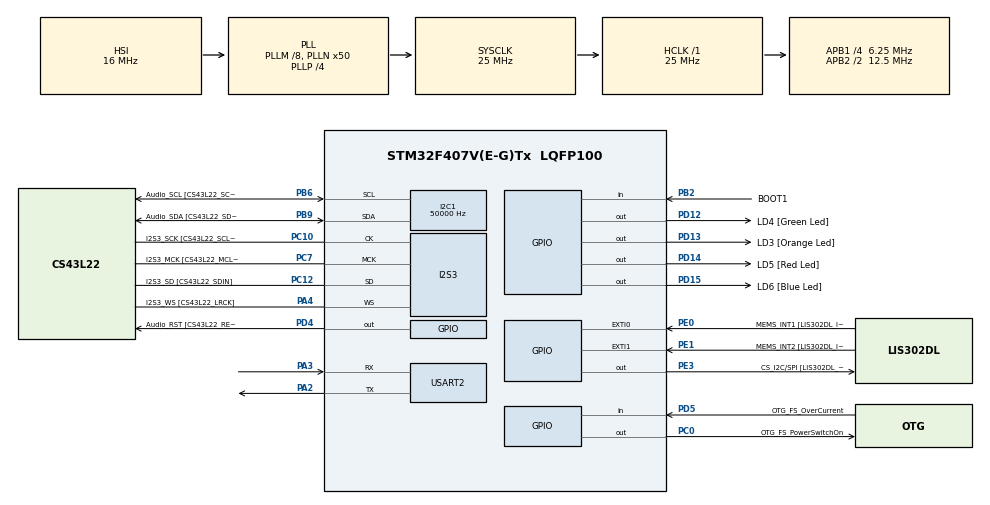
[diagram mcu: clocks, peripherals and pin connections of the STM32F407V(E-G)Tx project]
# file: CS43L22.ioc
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I2C1.ClockSpeed=50000
I2S3.AudioFreq=I2S_AUDIOFREQ_44K
I2S3.ErrorAudioFreq=-2.34 %
I2S3.RealAudioFreq=42.968 KHz
I2S3.Standard=I2S_STANDARD_PHILIPS
Mcu.Family=STM32F4
Mcu.Name=STM32F407V(E-G)Tx
Mcu.Package=LQFP100
NVIC.PriorityGroup=NVIC_PRIORITYGROUP_0
PA10.GPIO_Label=OTG_FS_ID
PA10.GPIO_Mode=GPIO_MODE_AF_PP
PA10.GPIO_PuPd=GPIO_NOPULL
PA10.GPIO_Speed=GPIO_SPEED_FREQ_LOW
PA10.Signal=USB_OTG_FS_ID
PA11.GPIO_Label=OTG_FS_DM
PA11.GPIO_Mode=GPIO_MODE_AF_PP
PA11.GPIO_PuPd=GPIO_NOPULL
PA11.GPIO_Speed=GPIO_SPEED_FREQ_LOW
PA11.Signal=USB_OTG_FS_DM
PA12.GPIO_Label=OTG_FS_DP
PA12.GPIO_Mode=GPIO_MODE_AF_PP
PA12.GPIO_PuPd=GPIO_NOPULL
PA12.GPIO_Speed=GPIO_SPEED_FREQ_LOW
PA12.Signal=USB_OTG_FS_DP
PA13.GPIO_Label=SWDIO
PA13.Signal=SYS_JTMS-SWDIO
PA14.GPIO_Label=SWCLK
PA14.Signal=SYS_JTCK-SWCLK
PA2.Mode=Asynchronous
PA2.Signal=USART2_TX
PA3.Mode=Asynchronous
PA3.Signal=USART2_RX
PA4.GPIO_Label=I2S3_WS [CS43L22_LRCK]
PA4.GPIO_Mode=GPIO_MODE_AF_PP
PA4.GPIO_PuPd=GPIO_NOPULL
PA4.GPIO_Speed=GPIO_SPEED_FREQ_LOW
PA4.Mode=Half_Duplex_Master
PA4.Signal=I2S3_WS
PA5.GPIO_Label=SPI1_SCK [LIS302DL_SCL/SPC]
PA5.GPIO_Mode=GPIO_MODE_AF_PP
PA5.GPIO_PuPd=GPIO_NOPULL
PA5.GPIO_Speed=GPIO_SPEED_FREQ_LOW
PA5.Signal=SPI1_SCK
PA6.GPIO_Label=SPI1_MISO [LIS302DL_SDO]
PA6.GPIO_Mode=GPIO_MODE_AF_PP
PA6.GPIO_PuPd=GPIO_NOPULL
PA6.GPIO_Speed=GPIO_SPEED_FREQ_LOW
PA6.Signal=SPI1_MISO
PA7.GPIO_Label=SPI1_MOSI [LIS302DL_SDA/SDI/SDO]
PA7.GPIO_Mode=GPIO_MODE_AF_PP
PA7.GPIO_PuPd=GPIO_NOPULL
PA7.GPIO_Speed=GPIO_SPEED_FREQ_LOW
PA7.Signal=SPI1_MOSI
PA9.GPIO_Label=VBUS_FS
PA9.GPIO_Mode=GPIO_MODE_INPUT
PA9.GPIO_PuPd=GPIO_NOPULL
PA9.Signal=USB_OTG_FS_VBUS
PB10.GPIO_Label=CLK_IN [MP45DT02_CLK]
PB10.GPIO_Mode=GPIO_MODE_AF_PP
PB10.GPIO_PuPd=GPIO_NOPULL
PB10.GPIO_Speed=GPIO_SPEED_FREQ_LOW
PB10.Signal=I2S2_CK
PB2.GPIO_Label=BOOT1
PB2.GPIO_Mode=GPIO_MODE_INPUT
PB2.GPIO_PuPd=GPIO_NOPULL
PB2.Signal=GPIO_Input
PB3.GPIO_Label=SWO
PB3.Signal=SYS_JTDO-SWO
PB6.GPIO_Label=Audio_SCL [CS43L22_SCL]
PB6.GPIO_Mode=GPIO_MODE_AF_OD
PB6.GPIO_PuPd=GPIO_NOPULL
PB6.GPIO_Speed=GPIO_SPEED_FREQ_LOW
PB6.Mode=I2C
PB6.Signal=I2C1_SCL
PB9.GPIO_Label=Audio_SDA [CS43L22_SDA]
PB9.GPIO_Mode=GPIO_MODE_AF_OD
PB9.GPIO_PuPd=GPIO_NOPULL
PB9.GPIO_Speed=GPIO_SPEED_FREQ_LOW
PB9.Mode=I2C
PB9.Signal=I2C1_SDA
PC0.GPIO_Label=OTG_FS_PowerSwitchOn
PC0.GPIO_PuPd=GPIO_NOPULL
PC0.GPIO_Speed=GPIO_SPEED_FREQ_LOW
PC0.PinState=GPIO_PIN_SET
PC0.Signal=GPIO_Output
PC10.GPIO_Label=I2S3_SCK [CS43L22_SCLK]
PC10.GPIO_Mode=GPIO_MODE_AF_PP
PC10.GPIO_PuPd=GPIO_NOPULL
PC10.GPIO_Speed=GPIO_SPEED_FREQ_LOW
PC10.Mode=Half_Duplex_Master
PC10.Signal=I2S3_CK
PC12.GPIO_Label=I2S3_SD [CS43L22_SDIN]
PC12.GPIO_Mode=GPIO_MODE_AF_PP
PC12.GPIO_PuPd=GPIO_NOPULL
PC12.GPIO_Speed=GPIO_SPEED_FREQ_LOW
PC12.Mode=Half_Duplex_Master
PC12.Signal=I2S3_SD
PC14-OSC32_IN.GPIO_Label=PC14-OSC32_IN
PC14-OSC32_IN.Signal=RCC_OSC32_IN
PC15-OSC32_OUT.GPIO_Label=PC15-OSC32_OUT
PC15-OSC32_OUT.Signal=RCC_OSC32_OUT
PC3.GPIO_Label=PDM_OUT [MP45DT02_DOUT]
PC3.GPIO_Mode=GPIO_MODE_AF_PP
PC3.GPIO_PuPd=GPIO_NOPULL
PC3.GPIO_Speed=GPIO_SPEED_FREQ_LOW
PC3.Signal=I2S2_SD
PC7.GPIO_Label=I2S3_MCK [CS43L22_MCLK]
PC7.GPIO_Mode=GPIO_MODE_AF_PP
PC7.GPIO_PuPd=GPIO_NOPULL
PC7.GPIO_Speed=GPIO_SPEED_FREQ_LOW
PC7.Mode=Master_Clock_Activated
PC7.Signal=I2S3_MCK
PD12.GPIO_Label=LD4 [Green Led]
PD12.GPIO_PuPd=GPIO_NOPULL
PD12.GPIO_Speed=GPIO_SPEED_FREQ_LOW
PD12.Signal=GPIO_Output
PD13.GPIO_Label=LD3 [Orange Led]
PD13.GPIO_PuPd=GPIO_NOPULL
PD13.GPIO_Speed=GPIO_SPEED_FREQ_LOW
PD13.Signal=GPIO_Output
PD14.GPIO_Label=LD5 [Red Led]
PD14.GPIO_PuPd=GPIO_NOPULL
PD14.GPIO_Speed=GPIO_SPEED_FREQ_LOW
PD14.Signal=GPIO_Output
PD15.GPIO_Label=LD6 [Blue Led]
PD15.GPIO_PuPd=GPIO_NOPULL
PD15.GPIO_Speed=GPIO_SPEED_FREQ_LOW
PD15.Signal=GPIO_Output
PD4.GPIO_Label=Audio_RST [CS43L22_RESET]
PD4.GPIO_PuPd=GPIO_NOPULL
PD4.GPIO_Speed=GPIO_SPEED_FREQ_LOW
PD4.Signal=GPIO_Output
PD5.GPIO_Label=OTG_FS_OverCurrent
PD5.GPIO_Mode=GPIO_MODE_INPUT
PD5.GPIO_PuPd=GPIO_NOPULL
PD5.Signal=GPIO_Input
PE0.GPIO_Label=MEMS_INT1 [LIS302DL_INT1]
PE0.Signal=GPXTI0
PE1.GPIO_Label=MEMS_INT2 [LIS302DL_INT2]
PE1.GPIO_ModeDefaultEXTI=GPIO_MODE_EVT_RISING
PE1.GPIO_PuPd=GPIO_NOPULL
PE1.Signal=GPXTI1
PE3.GPIO_Label=CS_I2C/SPI [LIS302DL_CS_I2C/SPI]
PE3.GPIO_PuPd=GPIO_NOPULL
PE3.GPIO_Speed=GPIO_SPEED_FREQ_LOW
PE3.Signal=GPIO_Output
PH0-OSC_IN.GPIO_Label=PH0-OSC_IN
PH0-OSC_IN.Signal=RCC_OSC_IN
PH1-OSC_OUT.GPIO_Label=PH1-OSC_OUT
PH1-OSC_OUT.Signal=RCC_OSC_OUT
ProjectManager.HeapSize=0x200
ProjectManager.StackSize=0x400
ProjectManager.TargetToolchain=SW4STM32
RCC.48MHZClocksFreq_Value=14285714.285714285
RCC.AHBFreq_Value=25000000
RCC.APB1CLKDivider=RCC_HCLK_DIV4
RCC.APB1Freq_Value=6250000
RCC.APB1TimFreq_Value=12500000
RCC.APB2CLKDivider=RCC_HCLK_DIV2
RCC.APB2Freq_Value=12500000
RCC.APB2TimFreq_Value=25000000
RCC.CortexFreq_Value=25000000
RCC.HCLKFreq_Value=25000000
RCC.HSE_VALUE=8000000
RCC.HSI_VALUE=16000000
RCC.LSE_VALUE=32768
RCC.PLLI2SN=88
RCC.PLLI2SR=4
RCC.PLLM=8
RCC.PLLN=50
RCC.PLLP=RCC_PLLP_DIV4
RCC.PLLQ=7
RCC.SYSCLKFreq_VALUE=25000000
RCC.SYSCLKSource=RCC_SYSCLKSOURCE_PLLCLK
RCC.VCOOutputFreq_Value=100000000
TIM1.Period=0
TIM1.Prescaler=0
VP_TIM1_VS_ClockSourceINT.Mode=Internal
board=STM32F407G-DISC1

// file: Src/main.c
/**
 ******************************************************************************
 * File Name          : main.c
 * Description        : Main program body
 ******************************************************************************
 *
 * COPYRIGHT(c) 2016 STMicroelectronics
 *
 * Redistribution and use in source and binary forms, with or without modification,
 * are permitted provided that the following conditions are met:
 *   1. Redistributions of source code must retain the above copyright notice,
 *      this list of conditions and the following disclaimer.
 *   2. Redistributions in binary form must reproduce the above copyright notice,
 *      this list of conditions and the following disclaimer in the documentation
 *      and/or other materials provided with the distribution.
 *   3. Neither the name of STMicroelectronics nor the names of its contributors
 *      may be used to endorse or promote products derived from this software
 *      without specific prior written permission.
 *
 * THIS SOFTWARE IS PROVIDED BY THE COPYRIGHT HOLDERS AND CONTRIBUTORS "AS IS"
 * AND ANY EXPRESS OR IMPLIED WARRANTIES, INCLUDING, BUT NOT LIMITED TO, THE
 * IMPLIED WARRANTIES OF MERCHANTABILITY AND FITNESS FOR A PARTICULAR PURPOSE ARE
 * DISCLAIMED. IN NO EVENT SHALL THE COPYRIGHT HOLDER OR CONTRIBUTORS BE LIABLE
 * FOR ANY DIRECT, INDIRECT, INCIDENTAL, SPECIAL, EXEMPLARY, OR CONSEQUENTIAL
 * DAMAGES (INCLUDING, BUT NOT LIMITED TO, PROCUREMENT OF SUBSTITUTE GOODS OR
 * SERVICES; LOSS OF USE, DATA, OR PROFITS; OR BUSINESS INTERRUPTION) HOWEVER
 * CAUSED AND ON ANY THEORY OF LIABILITY, WHETHER IN CONTRACT, STRICT LIABILITY,
 * OR TORT (INCLUDING NEGLIGENCE OR OTHERWISE) ARISING IN ANY WAY OUT OF THE USE
 * OF THIS SOFTWARE, EVEN IF ADVISED OF THE POSSIBILITY OF SUCH DAMAGE.
 *
 ******************************************************************************
 */
#include "main.h"
#include "stm32f4xx_hal.h"
#include <string.h>

/* USER CODE BEGIN Includes */
#define SPEAKER_RESET_GPIO_TYPE GPIOD
#define SPEAKER_RESET_GPIO_PIN_NUMBER GPIO_PIN_4
#define DELAY_DURATION 500
#define I2C_TIMEOUT 50
#define UART_TIMEOUT 100
#define BEAT 100
#define BEEP_VOLUME 0x1A
/* USER CODE END Includes */

I2C_HandleTypeDef hi2c1;

I2S_HandleTypeDef hi2s3;

TIM_HandleTypeDef htim1;

UART_HandleTypeDef huart2;

/* USER CODE BEGIN PV */
/* Private variables ---------------------------------------------------------*/

/* USER CODE END PV */

void SystemClock_Config(void);
void Error_Handler(void);
static void MX_GPIO_Init(void);
static void MX_I2C1_Init(void);
static void MX_I2S3_Init(void);
static void MX_TIM1_Init(void);
static void MX_USART2_UART_Init(void);

/* USER CODE BEGIN PFP */
/* Private function prototypes -----------------------------------------------*/
void play_musical_note(int index);
void play_musical_note_with_beat(int index, float beat);
void write_to_speaker_reg(uint8_t address, uint8_t data);
void speaker_init();
void send_data_via_uart(char *data, uint16_t size);
int character_note_index_mapping(uint8_t character);
/* USER CODE END PFP */

/* USER CODE BEGIN 0 */

uint8_t musical_note[] = { 0x01, 0x11, 0x21, 0x31, 0x41, 0x51, 0x61, 0x71, 0x81,
		0x91, 0xA1, 0xB1, 0xC1, 0xD1, 0xE1, 0xF1 };
char musical_note_name[][2] = { "C4", "C5", "D5", "E5", "F5", "G5", "A5", "B5", "C6",
		"D6", "E6", "F6", "G6", "A6", "B6", "C7" };

int is_playing = 0;

/* USER CODE END 0 */

int main(void) {

	/* MCU Configuration----------------------------------------------------------*/

	/* Reset of all peripherals, Initializes the Flash interface and the Systick. */
	HAL_Init();

	/* Configure the system clock */
	SystemClock_Config();

	/* Initialize all configured peripherals */
	MX_GPIO_Init();
	MX_I2C1_Init();
	MX_I2S3_Init();
	MX_TIM1_Init();
	MX_USART2_UART_Init();

	/* USER CODE BEGIN 2 */
	speaker_init();
	/* USER CODE END 2 */

	/* Infinite loop */
	while (1) {

		/* USER CODE BEGIN 3 */
		uint8_t data;
		if (HAL_UART_Receive(&huart2, &data, 1, UART_TIMEOUT) == HAL_OK
				&& !is_playing) {
			is_playing = 1;
			int index = character_note_index_mapping(data);
			play_musical_note(index);
			send_data_via_uart(musical_note_name[index], 2);
			send_data_via_uart("\n\r", 2);
			HAL_Delay(100);
		}
	}
	/* USER CODE END 3 */

}

/** System Clock Configuration
 */
void SystemClock_Config(void) {

	RCC_OscInitTypeDef RCC_OscInitStruct;
	RCC_ClkInitTypeDef RCC_ClkInitStruct;
	RCC_PeriphCLKInitTypeDef PeriphClkInitStruct;

	/**Configure the main internal regulator output voltage
	 */
	__HAL_RCC_PWR_CLK_ENABLE()
	;

	__HAL_PWR_VOLTAGESCALING_CONFIG(PWR_REGULATOR_VOLTAGE_SCALE1);

	/**Initializes the CPU, AHB and APB busses clocks
	 */
	RCC_OscInitStruct.OscillatorType = RCC_OSCILLATORTYPE_HSI;
	RCC_OscInitStruct.HSIState = RCC_HSI_ON;
	RCC_OscInitStruct.HSICalibrationValue = 16;
	RCC_OscInitStruct.PLL.PLLState = RCC_PLL_ON;
	RCC_OscInitStruct.PLL.PLLSource = RCC_PLLSOURCE_HSI;
	RCC_OscInitStruct.PLL.PLLM = 8;
	RCC_OscInitStruct.PLL.PLLN = 50;
	RCC_OscInitStruct.PLL.PLLP = RCC_PLLP_DIV4;
	RCC_OscInitStruct.PLL.PLLQ = 7;
	if (HAL_RCC_OscConfig(&RCC_OscInitStruct) != HAL_OK) {
		Error_Handler();
	}

	/**Initializes the CPU, AHB and APB busses clocks
	 */
	RCC_ClkInitStruct.ClockType = RCC_CLOCKTYPE_HCLK | RCC_CLOCKTYPE_SYSCLK
			| RCC_CLOCKTYPE_PCLK1 | RCC_CLOCKTYPE_PCLK2;
	RCC_ClkInitStruct.SYSCLKSource = RCC_SYSCLKSOURCE_PLLCLK;
	RCC_ClkInitStruct.AHBCLKDivider = RCC_SYSCLK_DIV1;
	RCC_ClkInitStruct.APB1CLKDivider = RCC_HCLK_DIV4;
	RCC_ClkInitStruct.APB2CLKDivider = RCC_HCLK_DIV2;

	if (HAL_RCC_ClockConfig(&RCC_ClkInitStruct, FLASH_LATENCY_0) != HAL_OK) {
		Error_Handler();
	}

	PeriphClkInitStruct.PeriphClockSelection = RCC_PERIPHCLK_I2S;
	PeriphClkInitStruct.PLLI2S.PLLI2SN = 88;
	PeriphClkInitStruct.PLLI2S.PLLI2SR = 4;
	if (HAL_RCCEx_PeriphCLKConfig(&PeriphClkInitStruct) != HAL_OK) {
		Error_Handler();
	}

	/**Configure the Systick interrupt time
	 */
	HAL_SYSTICK_Config(HAL_RCC_GetHCLKFreq() / 1000);

	/**Configure the Systick
	 */
	HAL_SYSTICK_CLKSourceConfig(SYSTICK_CLKSOURCE_HCLK);

	/* SysTick_IRQn interrupt configuration */
	HAL_NVIC_SetPriority(SysTick_IRQn, 0, 0);
}

/* I2C1 init function */
static void MX_I2C1_Init(void) {

	hi2c1.Instance = I2C1;
	hi2c1.Init.ClockSpeed = 50000;
	hi2c1.Init.DutyCycle = I2C_DUTYCYCLE_2;
	hi2c1.Init.OwnAddress1 = 0;
	hi2c1.Init.AddressingMode = I2C_ADDRESSINGMODE_7BIT;
	hi2c1.Init.DualAddressMode = I2C_DUALADDRESS_DISABLE;
	hi2c1.Init.OwnAddress2 = 0;
	hi2c1.Init.GeneralCallMode = I2C_GENERALCALL_DISABLE;
	hi2c1.Init.NoStretchMode = I2C_NOSTRETCH_DISABLE;
	if (HAL_I2C_Init(&hi2c1) != HAL_OK) {
		Error_Handler();
	}

}

/* I2S3 init function */
static void MX_I2S3_Init(void) {

	hi2s3.Instance = SPI3;
	hi2s3.Init.Mode = I2S_MODE_MASTER_TX;
	hi2s3.Init.Standard = I2S_STANDARD_PHILIPS;
	hi2s3.Init.DataFormat = I2S_DATAFORMAT_16B;
	hi2s3.Init.MCLKOutput = I2S_MCLKOUTPUT_ENABLE;
	hi2s3.Init.AudioFreq = I2S_AUDIOFREQ_44K;
	hi2s3.Init.CPOL = I2S_CPOL_LOW;
	hi2s3.Init.ClockSource = I2S_CLOCK_PLL;
	hi2s3.Init.FullDuplexMode = I2S_FULLDUPLEXMODE_DISABLE;
	if (HAL_I2S_Init(&hi2s3) != HAL_OK) {
		Error_Handler();
	}

}

/* TIM1 init function */
static void MX_TIM1_Init(void) {

	TIM_ClockConfigTypeDef sClockSourceConfig;
	TIM_MasterConfigTypeDef sMasterConfig;

	htim1.Instance = TIM1;
	htim1.Init.Prescaler = 0;
	htim1.Init.CounterMode = TIM_COUNTERMODE_UP;
	htim1.Init.Period = 0;
	htim1.Init.ClockDivision = TIM_CLOCKDIVISION_DIV1;
	htim1.Init.RepetitionCounter = 0;
	if (HAL_TIM_Base_Init(&htim1) != HAL_OK) {
		Error_Handler();
	}

	sClockSourceConfig.ClockSource = TIM_CLOCKSOURCE_INTERNAL;
	if (HAL_TIM_ConfigClockSource(&htim1, &sClockSourceConfig) != HAL_OK) {
		Error_Handler();
	}

	sMasterConfig.MasterOutputTrigger = TIM_TRGO_RESET;
	sMasterConfig.MasterSlaveMode = TIM_MASTERSLAVEMODE_DISABLE;
	if (HAL_TIMEx_MasterConfigSynchronization(&htim1, &sMasterConfig) != HAL_OK) {
		Error_Handler();
	}

}

/* USART2 init function */
static void MX_USART2_UART_Init(void) {

	huart2.Instance = USART2;
	huart2.Init.BaudRate = 115200;
	huart2.Init.WordLength = UART_WORDLENGTH_8B;
	huart2.Init.StopBits = UART_STOPBITS_1;
	huart2.Init.Parity = UART_PARITY_NONE;
	huart2.Init.Mode = UART_MODE_TX_RX;
	huart2.Init.HwFlowCtl = UART_HWCONTROL_NONE;
	huart2.Init.OverSampling = UART_OVERSAMPLING_16;
	if (HAL_UART_Init(&huart2) != HAL_OK) {
		Error_Handler();
	}

}

/** Configure pins as
 * Analog
 * Input
 * Output
 * EVENT_OUT
 * EXTI
 PC3   ------> I2S2_SD
 PA5   ------> SPI1_SCK
 PA6   ------> SPI1_MISO
 PA7   ------> SPI1_MOSI
 PB10   ------> I2S2_CK
 PA9   ------> USB_OTG_FS_VBUS
 PA10   ------> USB_OTG_FS_ID
 PA11   ------> USB_OTG_FS_DM
 PA12   ------> USB_OTG_FS_DP
 */
static void MX_GPIO_Init(void) {

	GPIO_InitTypeDef GPIO_InitStruct;

	/* GPIO Ports Clock Enable */
	__HAL_RCC_GPIOE_CLK_ENABLE()
	;
	__HAL_RCC_GPIOC_CLK_ENABLE()
	;
	__HAL_RCC_GPIOH_CLK_ENABLE()
	;
	__HAL_RCC_GPIOA_CLK_ENABLE()
	;
	__HAL_RCC_GPIOB_CLK_ENABLE()
	;
	__HAL_RCC_GPIOD_CLK_ENABLE()
	;

	/*Configure GPIO pin Output Level */
	HAL_GPIO_WritePin(CS_I2C_SPI_GPIO_Port, CS_I2C_SPI_Pin, GPIO_PIN_RESET);

	/*Configure GPIO pin Output Level */
	HAL_GPIO_WritePin(OTG_FS_PowerSwitchOn_GPIO_Port, OTG_FS_PowerSwitchOn_Pin,
			GPIO_PIN_SET);

	/*Configure GPIO pin Output Level */
	HAL_GPIO_WritePin(GPIOD,
			LD4_Pin | LD3_Pin | LD5_Pin | LD6_Pin | Audio_RST_Pin, GPIO_PIN_RESET);

	/*Configure GPIO pin : CS_I2C_SPI_Pin */
	GPIO_InitStruct.Pin = CS_I2C_SPI_Pin;
	GPIO_InitStruct.Mode = GPIO_MODE_OUTPUT_PP;
	GPIO_InitStruct.Pull = GPIO_NOPULL;
	GPIO_InitStruct.Speed = GPIO_SPEED_FREQ_LOW;
	HAL_GPIO_Init(CS_I2C_SPI_GPIO_Port, &GPIO_InitStruct);

	/*Configure GPIO pin : OTG_FS_PowerSwitchOn_Pin */
	GPIO_InitStruct.Pin = OTG_FS_PowerSwitchOn_Pin;
	GPIO_InitStruct.Mode = GPIO_MODE_OUTPUT_PP;
	GPIO_InitStruct.Pull = GPIO_NOPULL;
	GPIO_InitStruct.Speed = GPIO_SPEED_FREQ_LOW;
	HAL_GPIO_Init(OTG_FS_PowerSwitchOn_GPIO_Port, &GPIO_InitStruct);

	/*Configure GPIO pin : PDM_OUT_Pin */
	GPIO_InitStruct.Pin = PDM_OUT_Pin;
	GPIO_InitStruct.Mode = GPIO_MODE_AF_PP;
	GPIO_InitStruct.Pull = GPIO_NOPULL;
	GPIO_InitStruct.Speed = GPIO_SPEED_FREQ_LOW;
	GPIO_InitStruct.Alternate = GPIO_AF5_SPI2;
	HAL_GPIO_Init(PDM_OUT_GPIO_Port, &GPIO_InitStruct);

	/*Configure GPIO pins : PA5 PA6 PA7 */
	GPIO_InitStruct.Pin = GPIO_PIN_5 | GPIO_PIN_6 | GPIO_PIN_7;
	GPIO_InitStruct.Mode = GPIO_MODE_AF_PP;
	GPIO_InitStruct.Pull = GPIO_NOPULL;
	GPIO_InitStruct.Speed = GPIO_SPEED_FREQ_LOW;
	GPIO_InitStruct.Alternate = GPIO_AF5_SPI1;
	HAL_GPIO_Init(GPIOA, &GPIO_InitStruct);

	/*Configure GPIO pin : BOOT1_Pin */
	GPIO_InitStruct.Pin = BOOT1_Pin;
	GPIO_InitStruct.Mode = GPIO_MODE_INPUT;
	GPIO_InitStruct.Pull = GPIO_NOPULL;
	HAL_GPIO_Init(BOOT1_GPIO_Port, &GPIO_InitStruct);

	/*Configure GPIO pin : CLK_IN_Pin */
	GPIO_InitStruct.Pin = CLK_IN_Pin;
	GPIO_InitStruct.Mode = GPIO_MODE_AF_PP;
	GPIO_InitStruct.Pull = GPIO_NOPULL;
	GPIO_InitStruct.Speed = GPIO_SPEED_FREQ_LOW;
	GPIO_InitStruct.Alternate = GPIO_AF5_SPI2;
	HAL_GPIO_Init(CLK_IN_GPIO_Port, &GPIO_InitStruct);

	/*Configure GPIO pins : LD4_Pin LD3_Pin LD5_Pin LD6_Pin
	 Audio_RST_Pin */
	GPIO_InitStruct.Pin = LD4_Pin | LD3_Pin | LD5_Pin | LD6_Pin | Audio_RST_Pin;
	GPIO_InitStruct.Mode = GPIO_MODE_OUTPUT_PP;
	GPIO_InitStruct.Pull = GPIO_NOPULL;
	GPIO_InitStruct.Speed = GPIO_SPEED_FREQ_LOW;
	HAL_GPIO_Init(GPIOD, &GPIO_InitStruct);

	/*Configure GPIO pin : VBUS_FS_Pin */
	GPIO_InitStruct.Pin = VBUS_FS_Pin;
	GPIO_InitStruct.Mode = GPIO_MODE_INPUT;
	GPIO_InitStruct.Pull = GPIO_NOPULL;
	HAL_GPIO_Init(VBUS_FS_GPIO_Port, &GPIO_InitStruct);

	/*Configure GPIO pins : OTG_FS_ID_Pin OTG_FS_DM_Pin OTG_FS_DP_Pin */
	GPIO_InitStruct.Pin = OTG_FS_ID_Pin | OTG_FS_DM_Pin | OTG_FS_DP_Pin;
	GPIO_InitStruct.Mode = GPIO_MODE_AF_PP;
	GPIO_InitStruct.Pull = GPIO_NOPULL;
	GPIO_InitStruct.Speed = GPIO_SPEED_FREQ_LOW;
	GPIO_InitStruct.Alternate = GPIO_AF10_OTG_FS;
	HAL_GPIO_Init(GPIOA, &GPIO_InitStruct);

	/*Configure GPIO pin : OTG_FS_OverCurrent_Pin */
	GPIO_InitStruct.Pin = OTG_FS_OverCurrent_Pin;
	GPIO_InitStruct.Mode = GPIO_MODE_INPUT;
	GPIO_InitStruct.Pull = GPIO_NOPULL;
	HAL_GPIO_Init(OTG_FS_OverCurrent_GPIO_Port, &GPIO_InitStruct);

	/*Configure GPIO pin : MEMS_INT1_Pin */
	GPIO_InitStruct.Pin = MEMS_INT1_Pin;
	GPIO_InitStruct.Mode = GPIO_MODE_IT_RISING;
	GPIO_InitStruct.Pull = GPIO_NOPULL;
	HAL_GPIO_Init(MEMS_INT1_GPIO_Port, &GPIO_InitStruct);

	/*Configure GPIO pin : MEMS_INT2_Pin */
	GPIO_InitStruct.Pin = MEMS_INT2_Pin;
	GPIO_InitStruct.Mode = GPIO_MODE_EVT_RISING;
	GPIO_InitStruct.Pull = GPIO_NOPULL;
	HAL_GPIO_Init(MEMS_INT2_GPIO_Port, &GPIO_InitStruct);

}

/* USER CODE BEGIN 4 */

int character_note_index_mapping(uint8_t character) {
	if (character == 'a')
		return 1;
	else if (character == 's')
		return 2;
	else if (character == 'd')
		return 3;
	else if (character == 'f')
		return 4;
	else if (character == 'g')
		return 5;
	else if (character == 'h')
		return 6;
	else if (character == 'j')
		return 7;
	else if (character == 'k')
		return 8;
	else if (character == 'l')
		return 9;
	else if (character == 'z')
		return 10;
	else if (character == 'x')
		return 11;
	else if (character == 'c')
		return 12;
	else if (character == 'v')
		return 13;
	else if (character == 'b')
		return 14;
	else if (character == 'n')
		return 15;
	else if (character == 'm')
		return 0;
	else
		return -1;
}

void play_musical_note(int index) {
	if (index < 0 || index > 15) {
		is_playing = 0;
		return;
	}

	HAL_GPIO_TogglePin(GPIOD, GPIO_PIN_15);

	// Beep Mix Disable: disable
	write_to_speaker_reg(0x1E, 0x20);
	write_to_speaker_reg(0x1C, musical_note[index]);
	// Beep Configuration: continuous
	write_to_speaker_reg(0x1E, 0xE0);

	int i;
	for (i = 0; i < BEAT; i++) {
		HAL_I2S_Transmit(&hi2s3, (uint16_t *) "a", 100, I2C_TIMEOUT);
	}
	is_playing = 0;
}

void play_musical_note_with_beat(int index, float beat) {
	if (index < -1 || index > 15) {
		is_playing = 0;
		return;
	}

	int cycles_compromise = (int) (beat * 600);
	if (index == -1) {
		int i;
		for (i = 0; i < cycles_compromise; i++)
			;
		is_playing = 0;
		return;
	}

	HAL_GPIO_TogglePin(GPIOD, GPIO_PIN_15);

	// Beep Mix Disable: disable
	write_to_speaker_reg(0x1E, 0x20);
	write_to_speaker_reg(0x1C, musical_note[index]);
	// Beep Configuration: continuous
	write_to_speaker_reg(0x1E, 0xE0);

	int i;
	// Beats
	// int cycles = (int) (beat * ((60 / bpm) / clock));
	for (i = 0; i < cycles_compromise; i++) {
		HAL_I2S_Transmit(&hi2s3, (uint16_t *) "a", 100, I2C_TIMEOUT);
	}
	is_playing = 0;
}

void write_to_speaker_reg(uint8_t address, uint8_t data) {
	// Chip address: 100101 followed by the setting of the AD0 pin (0) and R/W bit
	uint8_t chip_address = 0b10010100;
	uint8_t data_concat[2] = { address, data };
	HAL_I2C_Master_Transmit(&hi2c1, chip_address, data_concat, 2, I2C_TIMEOUT);
}

void speaker_init() {
	// Reset
	HAL_GPIO_WritePin(SPEAKER_RESET_GPIO_TYPE, SPEAKER_RESET_GPIO_PIN_NUMBER,
			GPIO_PIN_RESET);
	HAL_Delay(DELAY_DURATION);
	HAL_GPIO_WritePin(SPEAKER_RESET_GPIO_TYPE, SPEAKER_RESET_GPIO_PIN_NUMBER,
			GPIO_PIN_SET);
	HAL_Delay(DELAY_DURATION);

	// Load the required initialization settings according to section 4.11 in data sheet
	write_to_speaker_reg(0x00, 0x99);
	write_to_speaker_reg(0x47, 0x80);
	write_to_speaker_reg(0x32, 0b10111011);
	write_to_speaker_reg(0x32, 0b00111011);
	write_to_speaker_reg(0x00, 0x00);

	// Beep & Tone Configuration: set BEEP[1:0] to 11 (continuous)
	write_to_speaker_reg(0x1E, 0xC0);

	// Change beep volume
	write_to_speaker_reg(0x1D, BEEP_VOLUME);

	// Set the “Power Ctl 1” register (0x02) to 0x9E
	write_to_speaker_reg(0x02, 0x9E);
}

/**
 * @brief  Send data via UART.
 * @param  data: data to be sent
 * @retval None
 */
void send_data_via_uart(char *data, uint16_t size) {
	HAL_UART_Transmit(&huart2, (uint8_t *) data, size, UART_TIMEOUT);
}

/* USER CODE END 4 */

void Error_Handler(void) {
	while (1) {
	}
}

/************************ (C) COPYRIGHT STMicroelectronics *****END OF FILE****/
